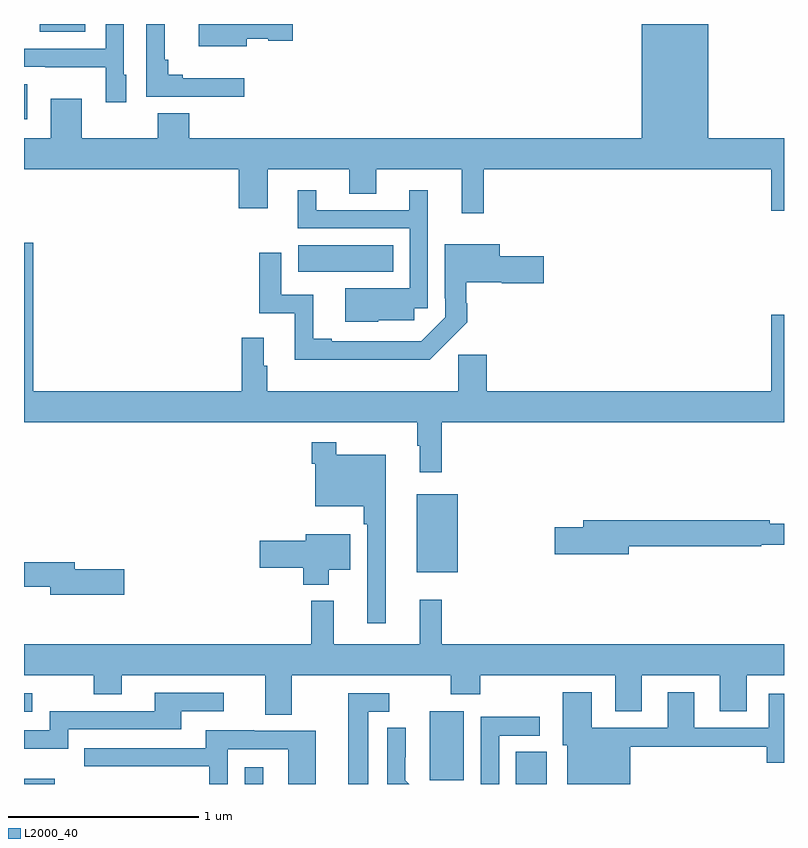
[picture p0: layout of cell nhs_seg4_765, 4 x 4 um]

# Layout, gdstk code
import gdstk
lib = gdstk.Library(unit=1e-6, precision=1e-09)
def R(c, l, rs):  # rectangles x0, y0, x1, y1
    for r in rs: c.add(gdstk.rectangle(r[:2], r[2:], *l))
def P(c, l, *ps):  # polygons
    for p in ps: c.add(gdstk.Polygon(p, *l))
L2000_40 = (2000, 40)

nhs_seg4_765 = lib.new_cell('nhs_seg4_765')
R(nhs_seg4_765, L2000_40, [(149.001,810.9,149.162,810.928), (150.162,810.9,150.259,810.988), (151.589,810.9,151.75,811.07), (151.136,810.921,151.315,811.282), (149,811.281,149.044,811.377), (151.067,812.015,151.282,812.425), (150.444,813.596,150.944,813.736), (149,814.398,149.017,814.584), (149.084,814.859,149.323,814.9)])
P(nhs_seg4_765, L2000_40, [(150.16,814.615),(149.836,814.615),(149.836,814.634),(149.759,814.634),(149.759,814.711),(149.741,814.711),(149.741,814.9),(149.643,814.9),(149.643,814.518),(150.16,814.518)],
  [(150.172,814.823),(150.285,814.823),(150.285,814.811),(150.415,814.811),(150.415,814.9),(149.921,814.9),(149.921,814.784),(150.172,814.784)],
  [(149.539,814.632),(149.526,814.632),(149.526,814.9),(149.43,814.9),(149.43,814.77),(149,814.77),(149,814.674),(149.113,814.674),(149.113,814.673),(149.43,814.673),(149.43,814.488),(149.539,814.488)],
  [(151.421,814.136),(152.933,814.136),(152.933,813.918),(153,813.918),(153,814.3),(152.602,814.3),(152.602,814.9),(152.252,814.9),(152.252,814.3),(149.869,814.3),(149.869,814.429),(149.705,814.429),(149.705,814.3),(149.305,814.3),(149.305,814.507),(149.141,814.507),(149.141,814.3),(149,814.3),(149,814.136),(150.131,814.136),(150.131,813.93),(150.283,813.93),(150.283,814.136),(150.713,814.136),(150.713,814.006),(150.853,814.006),(150.853,814.136),(151.304,814.136),(151.304,813.903),(151.421,813.903)],
  [(150.864,813.342),(151.053,813.342),(151.053,813.405),(151.125,813.405),(151.125,814.024),(151.028,814.024),(151.028,813.921),(150.538,813.921),(150.538,814.024),(150.44,814.024),(150.44,813.825),(151.029,813.825),(151.029,813.508),(150.692,813.508),(150.692,813.332),(150.864,813.332)],
  [(151.199,812.804),(153,812.804),(153,813.37),(152.933,813.37),(152.933,812.968),(151.436,812.968),(151.436,813.159),(151.285,813.159),(151.285,812.968),(150.281,812.968),(150.281,813.101),(150.262,813.101),(150.262,813.25),(150.145,813.25),(150.145,812.968),(149.048,812.968),(149.048,813.748),(149,813.748),(149,812.804),(151.071,812.804),(151.071,812.681),(151.082,812.681),(151.082,812.541),(151.199,812.541)],
  [(151.334,813.329),(151.334,813.431),(151.327,813.431),(151.327,813.541),(151.515,813.541),(151.515,813.536),(151.735,813.536),(151.735,813.678),(151.504,813.678),(151.504,813.742),(151.215,813.742),(151.215,813.457),(151.218,813.457),(151.218,813.357),(151.09,813.229),(150.989,813.229),(150.989,813.231),(150.619,813.231),(150.619,813.244),(150.523,813.244),(150.523,813.474),(150.354,813.474),(150.354,813.697),(150.238,813.697),(150.238,813.378),(150.425,813.378),(150.425,813.134),(150.937,813.134),(150.937,813.132),(151.136,813.132)],
  [(150.904,812.632),(150.643,812.632),(150.643,812.698),(150.514,812.698),(150.514,812.585),(150.534,812.585),(150.534,812.363),(150.787,812.363),(150.787,812.267),(150.807,812.267),(150.807,811.746),(150.904,811.746)],
  [(152.182,812.152),(152.88,812.152),(152.88,812.16),(153,812.16),(153,812.269),(152.924,812.269),(152.924,812.288),(151.943,812.288),(151.943,812.252),(151.794,812.252),(151.794,812.11),(152.182,812.11)],
  [(150.604,812.027),(150.718,812.027),(150.718,812.215),(150.482,812.215),(150.482,812.18),(150.24,812.18),(150.24,812.038),(150.47,812.038),(150.47,811.949),(150.604,811.949)],
  [(149.527,812.03),(149.266,812.03),(149.266,812.066),(149,812.066),(149,811.938),(149.138,811.938),(149.138,811.895),(149.527,811.895)],
  [(150.409,811.472),(151.246,811.472),(151.246,811.373),(151.401,811.373),(151.401,811.472),(152.111,811.472),(152.111,811.282),(152.251,811.282),(152.251,811.472),(152.663,811.472),(152.663,811.282),(152.803,811.282),(152.803,811.472),(153,811.472),(153,811.636),(151.199,811.636),(151.199,811.87),(151.082,811.87),(151.082,811.636),(150.629,811.636),(150.629,811.864),(150.511,811.864),(150.511,811.636),(149,811.636),(149,811.472),(149.368,811.472),(149.368,811.373),(149.515,811.373),(149.515,811.472),(150.269,811.472),(150.269,811.264),(150.409,811.264)],
  [(152.191,811.096),(152.909,811.096),(152.909,811.013),(153,811.013),(153,811.375),(152.921,811.375),(152.921,811.197),(152.527,811.197),(152.527,811.384),(152.387,811.384),(152.387,811.197),(151.987,811.197),(151.987,811.384),(151.835,811.384),(151.835,811.104),(151.859,811.104),(151.859,810.9),(152.191,810.9)],
  [(149.232,811.188),(149.827,811.188),(149.827,811.284),(150.052,811.284),(150.052,811.38),(149.687,811.38),(149.687,811.284),(149.136,811.284),(149.136,811.182),(149,811.182),(149,811.085),(149.232,811.085)],
  [(150.811,811.281),(150.922,811.281),(150.922,811.377),(150.707,811.377),(150.707,810.9),(150.811,810.9)],
  [(151.5,811.155),(151.714,811.155),(151.714,811.254),(151.404,811.254),(151.404,810.9),(151.5,810.9)],
  [(151.007,810.92),(151.007,811.042),(151.008,811.042),(151.008,811.196),(150.912,811.196),(150.912,810.9),(151.027,810.9)],
  [(150.072,811.083),(150.39,811.083),(150.39,810.9),(150.535,810.9),(150.535,811.179),(150.211,811.179),(150.211,811.183),(149.957,811.183),(149.957,811.089),(149.317,811.089),(149.317,810.993),(149.976,810.993),(149.976,810.9),(150.072,810.9)])

lib.write_gds('nhs_seg4_765.gds')
